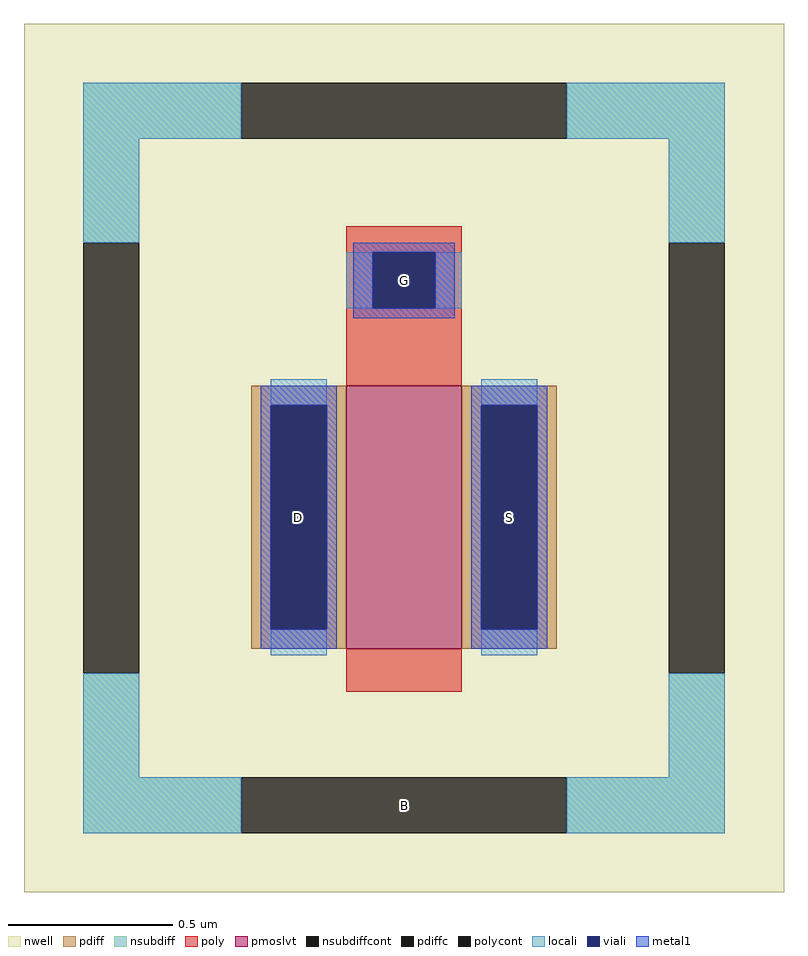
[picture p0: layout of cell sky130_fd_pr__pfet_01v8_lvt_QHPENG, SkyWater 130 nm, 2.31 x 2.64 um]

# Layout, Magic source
magic
tech sky130A
magscale 1 2
<< nwell >>
rect -231 -264 231 264
<< pmoslvt >>
rect -35 -116 35 44
<< pdiff >>
rect -93 32 -35 44
rect -93 -104 -81 32
rect -47 -104 -35 32
rect -93 -116 -35 -104
rect 35 32 93 44
rect 35 -104 47 32
rect 81 -104 93 32
rect 35 -116 93 -104
<< pdiffc >>
rect -81 -104 -47 32
rect 47 -104 81 32
<< nsubdiff >>
rect -195 194 -99 228
rect 99 194 195 228
rect -195 131 -161 194
rect 161 131 195 194
rect -195 -194 -161 -131
rect 161 -194 195 -131
rect -195 -228 -99 -194
rect 99 -228 195 -194
<< nsubdiffcont >>
rect -99 194 99 228
rect -195 -131 -161 131
rect 161 -131 195 131
rect -99 -228 99 -194
<< poly >>
rect -35 125 35 141
rect -35 91 -19 125
rect 19 91 35 125
rect -35 44 35 91
rect -35 -142 35 -116
<< polycont >>
rect -19 91 19 125
<< locali >>
rect -195 194 -99 228
rect 99 194 195 228
rect -195 131 -161 194
rect 161 131 195 194
rect -35 91 -19 125
rect 19 91 35 125
rect -81 32 -47 48
rect -81 -120 -47 -104
rect 47 32 81 48
rect 47 -120 81 -104
rect -195 -194 -161 -131
rect 161 -194 195 -131
rect -195 -228 -99 -194
rect 99 -228 195 -194
<< viali >>
rect -19 91 19 125
rect -81 -104 -47 32
rect 47 -104 81 32
<< metal1 >>
rect -31 125 31 131
rect -31 91 -19 125
rect 19 91 31 125
rect -31 85 31 91
rect -87 32 -41 44
rect -87 -104 -81 32
rect -47 -104 -41 32
rect -87 -116 -41 -104
rect 41 32 87 44
rect 41 -104 47 32
rect 81 -104 87 32
rect 41 -116 87 -104
<< labels >>
rlabel nsubdiffcont 0 -211 0 -211 0 B
port 1 nsew
rlabel pdiffc -64 -36 -64 -36 0 D
port 2 nsew
rlabel pdiffc 64 -36 64 -36 0 S
port 3 nsew
rlabel polycont 0 108 0 108 0 G
port 4 nsew
<< properties >>
string FIXED_BBOX -178 -211 178 211
string gencell sky130_fd_pr__pfet_01v8_lvt
string library sky130
string parameters w 0.8 l 0.35 m 1 nf 1 diffcov 100 polycov 100 guard 1 glc 1 grc 1 gtc 1 gbc 1 tbcov 100 rlcov 100 topc 1 botc 0 poverlap 0 doverlap 1 lmin 0.35 wmin 0.42 class mosfet compatible {sky130_fd_pr__pfet_01v8  sky130_fd_pr__pfet_01v8_lvt sky130_fd_pr__pfet_01v8_hvt  sky130_fd_pr__pfet_g5v0d10v5} full_metal 1 conn_gates 0 viasrc 100 viadrn 100 viagate 100 viagb 0 viagr 0 viagl 0 viagt 0 doports 1
<< end >>
